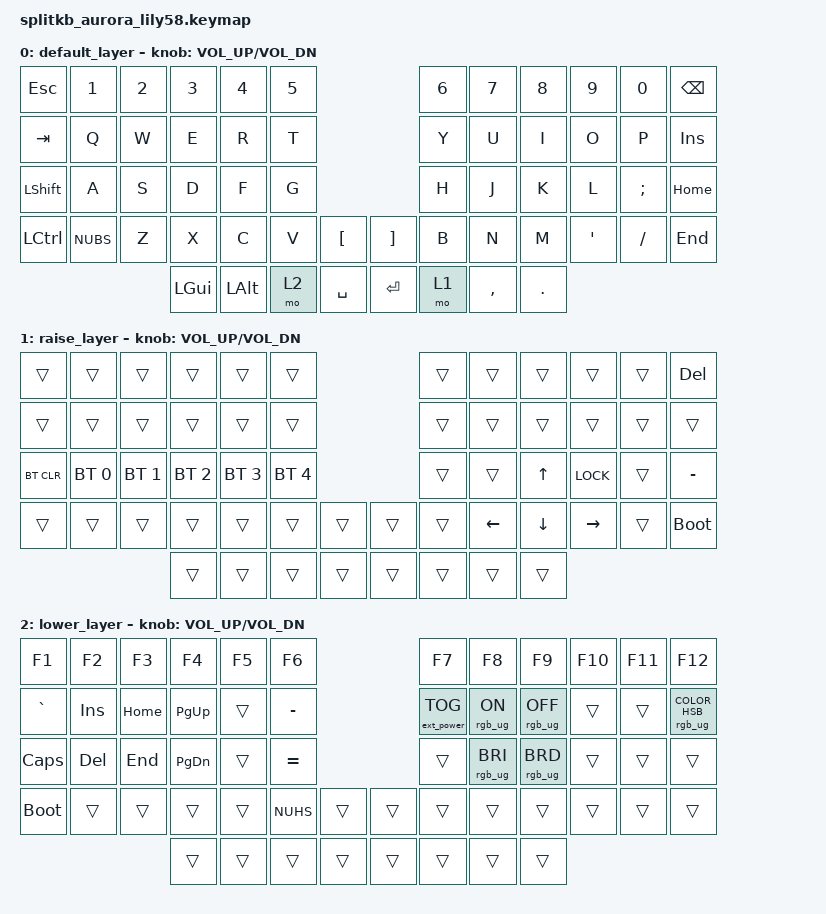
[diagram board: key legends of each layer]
/*
 * Copyright (c) 2022 The ZMK Contributors
 *
 * SPDX-License-Identifier: MIT
 */

#include <behaviors.dtsi>
#include <dt-bindings/zmk/ext_power.h>
#include <dt-bindings/zmk/backlight.h>
#include <dt-bindings/zmk/bt.h>
#include <dt-bindings/zmk/keys.h>
#include <dt-bindings/zmk/rgb.h>

&led_strip {
    chain-length = <29>;
};

/ {
    keymap {
        compatible = "zmk,keymap";

        default_layer {
            // ------------------------------------------------------------------------------------------------------------
            // |  ESC  |  1  |  2  |  3   |  4   |  5   |                   |  6   |  7    |  8   |  9   |   0   | BKPC |
            // |  TAB  |  Q  |  W  |  E   |  R   |  T   |                   |  Y   |  U    |  I   |  O   |   P   | INS  |
            // | SHIFT |  A  |  S  |  D   |  F   |  G   |                   |  H   |  J    |  K   |  L   |   ;   | HOME |
            // |  CTRL |  \  |  Z  |  X   |  C   |  V   |   "["  |  |  "]"  |  B   |  N    |  M   |  '   |   /   | END  |
            //                     | GUI  | ALT  | LOWER|  SPACE |  | ENTER | RAISE|  ,    |  .   |

            bindings = <
&kp ESC    &kp N1    &kp N2  &kp N3    &kp N4    &kp N5                         &kp N6  &kp N7     &kp N8   &kp N9    &kp N0    &kp BSPC
&kp TAB    &kp Q     &kp W   &kp E     &kp R     &kp T                          &kp Y   &kp U      &kp I    &kp O     &kp P     &kp INS
&kp LSHFT  &kp A     &kp S   &kp D     &kp F     &kp G                          &kp H   &kp J      &kp K    &kp L     &kp SEMI  &kp HOME
&kp LCTRL  &kp NUBS  &kp Z   &kp X     &kp C     &kp V   &kp LBKT     &kp RBKT  &kp B   &kp N      &kp M    &kp APOS  &kp FSLH  &kp END
                             &kp LGUI  &kp LALT  &mo 2   &kp SPACE    &kp RET   &mo 1   &kp COMMA  &kp DOT
            >;

            sensor-bindings = <&inc_dec_kp C_VOL_UP C_VOL_DN>;
        };

        raise_layer {
            // ------------------------------------------------------------------------------------------------------------
            // |       |     |     |      |      |      |                   |      |       |       |      |       | DEL	  |
            // |       |     |     |      |      |      |                   |      |       |       |      |       |      	  |
            // | BTCLR | BT1 | BT2 |  BT3 |  BT4 |  BT5 |                   |      |       |  ^    | LOCK |       | MINUS     |
            // |       |     |     |      |      |      |        |  |       |      |  <    |  V    |  >   |       | BOOTLOADER|
            //                     |      |      |      |        |  |       |      |       |       |

            bindings = <
&trans      &trans        &trans        &trans        &trans        &trans                          &trans  &trans    &trans    &trans      &trans  &kp DEL
&trans      &trans        &trans        &trans        &trans        &trans                          &trans  &trans    &trans    &trans      &trans  &trans
&bt BT_CLR  &bt BT_SEL 0  &bt BT_SEL 1  &bt BT_SEL 2  &bt BT_SEL 3  &bt BT_SEL 4                    &trans  &trans    &kp UP    &kp K_LOCK  &trans  &kp MINUS
&trans      &trans        &trans        &trans        &trans        &trans        &trans    &trans  &trans  &kp LEFT  &kp DOWN  &kp RIGHT   &trans  &bootloader
                                        &trans        &trans        &trans        &trans    &trans  &trans  &trans    &trans
            >;

            sensor-bindings = <&inc_dec_kp C_VOL_UP C_VOL_DN>;
        };

        lower_layer {
            // ------------------------------------------------------------------------------------------------------------
            // |   F1     |  F2  |  F3  |  F4   |  F5  |  F6  |                   |  F7           |   F8   |   F9    |  F10 |   F11 |   F12        |
            // |   `      |  INS | HOME | PG UP |      | MINUS|                   | Ext Power Tog | RGB On | RGB OFF |      |       | RBG Set Blue |
            // |          |  DEL | END  | PG DN |      | EQUAL|                   |               | RBG +  | RGB -   |      |       |              |
            // |Bootloader|      |      |       |      | HASH |        |  |       |               |        |         |      |       |              |
            //                          |       |      |      |        |  |       |               |        |         |

            bindings = <
&kp F1       &kp F2   &kp F3    &kp F4     &kp F5  &kp F6                       &kp F7            &kp F8          &kp F9          &kp F10 &kp F11 &kp F12
&kp GRAVE    &kp INS  &kp HOME  &kp PG_UP  &trans  &kp MINUS                    &ext_power EP_TOG &rgb_ug RGB_ON  &rgb_ug RGB_OFF &trans  &trans  &rgb_ug RGB_COLOR_HSB(220,66,47)
&kp CAPS     &kp DEL  &kp END   &kp PG_DN  &trans  &kp EQUAL                    &trans            &rgb_ug RGB_BRI &rgb_ug RGB_BRD &trans  &trans  &trans
&bootloader  &trans   &trans    &trans     &trans  &kp NUHS   &trans    &trans  &trans            &trans          &trans          &trans  &trans  &trans
                                &trans     &trans  &trans     &trans    &trans  &trans            &trans          &trans
            >;

            sensor-bindings = <&inc_dec_kp C_VOL_UP C_VOL_DN>;
        };
    };
};
